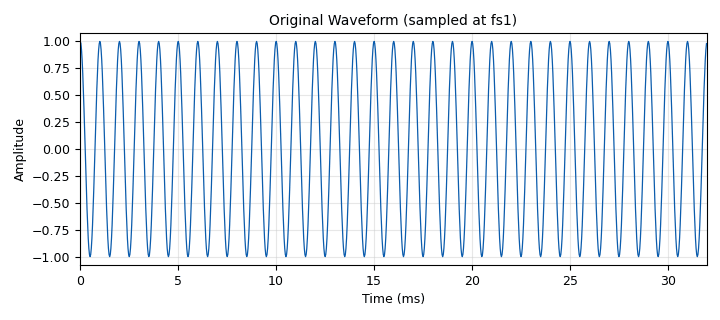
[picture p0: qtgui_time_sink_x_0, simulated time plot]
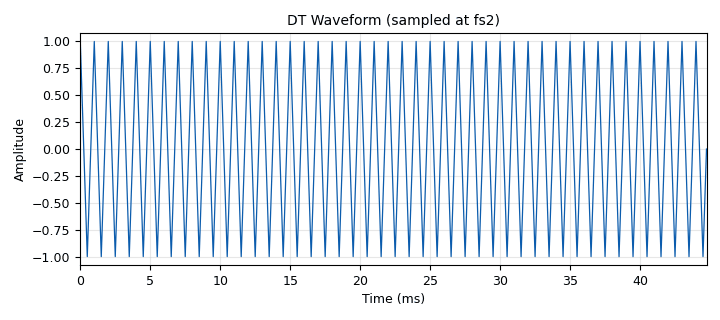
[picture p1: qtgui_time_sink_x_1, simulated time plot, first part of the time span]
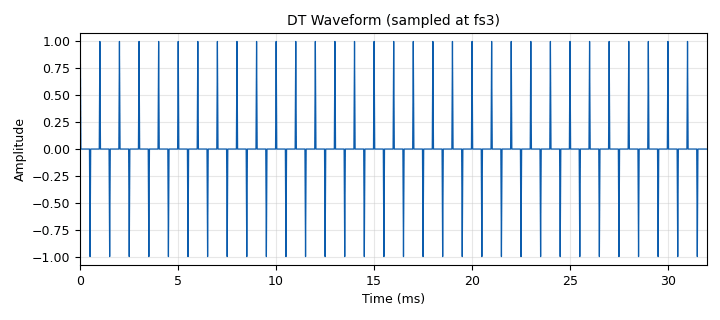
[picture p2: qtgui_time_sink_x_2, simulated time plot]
<?xml version='1.0' encoding='utf-8'?>
<?grc format='1' created='3.7.11'?>
<flow_graph>
<block>
<key>options</key>
<param><key>id</key><value>top_block</value></param>
<param><key>generate_options</key><value>qt_gui</value></param>
</block>
<block>
<key>variable</key>
<param><key>id</key><value>Dsamp</value></param>
<param><key>value</key><value>8</value></param>
</block>
<block>
<key>variable</key>
<param><key>id</key><value>Usamp</value></param>
<param><key>value</key><value>8</value></param>
</block>
<block>
<key>variable_qtgui_range</key>
<param><key>id</key><value>beta</value></param>
<param><key>value</key><value>0</value></param>
<param><key>orient</key><value>Qt.Horizontal</value></param>
<param><key>start</key><value>0</value></param>
<param><key>step</key><value>10e-3</value></param>
<param><key>stop</key><value>1</value></param>
</block>
<block>
<key>variable</key>
<param><key>id</key><value>fs1</value></param>
<param><key>value</key><value>32000</value></param>
</block>
<block>
<key>variable</key>
<param><key>id</key><value>fs2</value></param>
<param><key>value</key><value>4000</value></param>
</block>
<block>
<key>variable</key>
<param><key>id</key><value>fs3</value></param>
<param><key>value</key><value>32000</value></param>
</block>
<block>
<key>variable_qtgui_range</key>
<param><key>id</key><value>k</value></param>
<param><key>value</key><value>1</value></param>
<param><key>orient</key><value>Qt.Horizontal</value></param>
<param><key>start</key><value>1</value></param>
<param><key>step</key><value>1</value></param>
<param><key>stop</key><value>10</value></param>
<param><key>rangeType</key><value>int</value></param>
</block>
<block>
<key>variable_qtgui_chooser</key>
<param><key>id</key><value>waveform</value></param>
<param><key>value</key><value>102</value></param>
<param><key>label0</key><value>Cosine</value></param>
<param><key>label1</key><value>Rectangular</value></param>
<param><key>label2</key><value>Triangular</value></param>
<param><key>label</key><value>waveform</value></param>
<param><key>num_opts</key><value>3</value></param>
<param><key>option0</key><value>102</value></param>
<param><key>option1</key><value>103</value></param>
<param><key>option2</key><value>104</value></param>
<param><key>type</key><value>int</value></param>
</block>
<block>
<key>analog_sig_source_x</key>
<param><key>id</key><value>analog_sig_source_x_0</value></param>
<param><key>amp</key><value>1</value></param>
<param><key>freq</key><value>1e3</value></param>
<param><key>offset</key><value>0</value></param>
<param><key>type</key><value>float</value></param>
<param><key>samp_rate</key><value>fs1</value></param>
<param><key>waveform</key><value>102</value></param>
</block>
<block>
<key>blocks_throttle</key>
<param><key>id</key><value>blocks_throttle_0</value></param>
<param><key>samples_per_second</key><value>fs1</value></param>
<param><key>type</key><value>float</value></param>
</block>
<block>
<key>fir_filter_xxx</key>
<param><key>id</key><value>fir_filter_xxx_0</value></param>
<param><key>decim</key><value>Dsamp</value></param>
<param><key>taps</key><value>1</value></param>
<param><key>type</key><value>fff</value></param>
</block>
<block>
<key>import</key>
<param><key>id</key><value>import_0</value></param>
<param><key>import</key><value>import numpy as np</value></param>
</block>
<block>
<key>import</key>
<param><key>id</key><value>import_0_0</value></param>
<param><key>import</key><value>import pf</value></param>
</block>
<block>
<key>interp_fir_filter_xxx</key>
<param><key>id</key><value>interp_fir_filter_xxx_0</value></param>
<param><key>interp</key><value>1</value></param>
<param><key>taps</key><value>pf.pampt(Usamp, 'rcf', [k, beta])</value></param>
<param><key>type</key><value>fff</value></param>
</block>
<block>
<key>interp_fir_filter_xxx</key>
<param><key>id</key><value>interp_fir_filter_xxx_1</value></param>
<param><key>interp</key><value>Usamp</value></param>
<param><key>taps</key><value>1</value></param>
<param><key>type</key><value>fff</value></param>
</block>
<block>
<key>qtgui_time_sink_x</key>
<param><key>id</key><value>qtgui_time_sink_x_0</value></param>
<param><key>color1</key><value>"blue"</value></param>
<param><key>label1</key><value></value></param>
<param><key>name</key><value>Original Waveform (sampled at fs1)</value></param>
<param><key>size</key><value>1024</value></param>
<param><key>srate</key><value>fs1</value></param>
<param><key>type</key><value>float</value></param>
</block>
<block>
<key>qtgui_time_sink_x</key>
<param><key>id</key><value>qtgui_time_sink_x_1</value></param>
<param><key>color1</key><value>"blue"</value></param>
<param><key>label1</key><value></value></param>
<param><key>name</key><value>DT Waveform (sampled at fs2)</value></param>
<param><key>size</key><value>1024</value></param>
<param><key>srate</key><value>fs2</value></param>
<param><key>type</key><value>float</value></param>
</block>
<block>
<key>qtgui_time_sink_x</key>
<param><key>id</key><value>qtgui_time_sink_x_2</value></param>
<param><key>color1</key><value>"blue"</value></param>
<param><key>label1</key><value></value></param>
<param><key>name</key><value>DT Waveform (sampled at fs3)</value></param>
<param><key>size</key><value>1024</value></param>
<param><key>srate</key><value>fs3</value></param>
<param><key>type</key><value>float</value></param>
</block>
<block>
<key>qtgui_time_sink_x</key>
<param><key>id</key><value>qtgui_time_sink_x_3</value></param>
<param><key>color1</key><value>"blue"</value></param>
<param><key>label1</key><value></value></param>
<param><key>name</key><value>Reconstructed Waveform (sampled at fs3)</value></param>
<param><key>size</key><value>1024</value></param>
<param><key>srate</key><value>fs3</value></param>
<param><key>type</key><value>float</value></param>
</block>
<connection><source_block_id>analog_sig_source_x_0</source_block_id><sink_block_id>blocks_throttle_0</sink_block_id><source_key>0</source_key><sink_key>0</sink_key></connection>
<connection><source_block_id>blocks_throttle_0</source_block_id><sink_block_id>fir_filter_xxx_0</sink_block_id><source_key>0</source_key><sink_key>0</sink_key></connection>
<connection><source_block_id>blocks_throttle_0</source_block_id><sink_block_id>qtgui_time_sink_x_0</sink_block_id><source_key>0</source_key><sink_key>0</sink_key></connection>
<connection><source_block_id>fir_filter_xxx_0</source_block_id><sink_block_id>interp_fir_filter_xxx_1</sink_block_id><source_key>0</source_key><sink_key>0</sink_key></connection>
<connection><source_block_id>fir_filter_xxx_0</source_block_id><sink_block_id>qtgui_time_sink_x_1</sink_block_id><source_key>0</source_key><sink_key>0</sink_key></connection>
<connection><source_block_id>interp_fir_filter_xxx_0</source_block_id><sink_block_id>qtgui_time_sink_x_3</sink_block_id><source_key>0</source_key><sink_key>0</sink_key></connection>
<connection><source_block_id>interp_fir_filter_xxx_1</source_block_id><sink_block_id>interp_fir_filter_xxx_0</sink_block_id><source_key>0</source_key><sink_key>0</sink_key></connection>
<connection><source_block_id>interp_fir_filter_xxx_1</source_block_id><sink_block_id>qtgui_time_sink_x_2</sink_block_id><source_key>0</source_key><sink_key>0</sink_key></connection>
</flow_graph>
